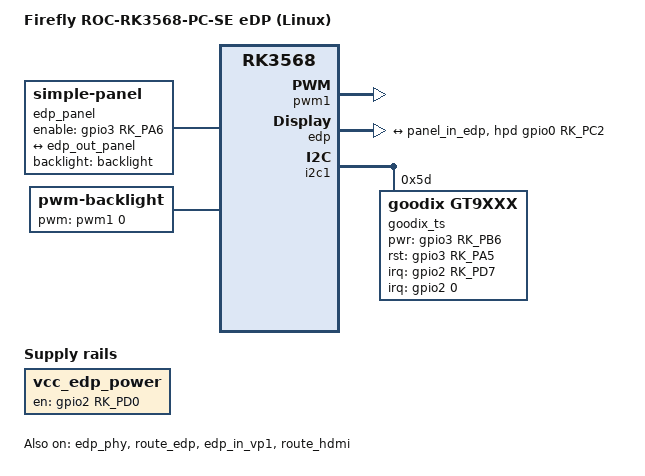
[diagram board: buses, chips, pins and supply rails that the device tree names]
// SPDX-License-Identifier: (GPL-2.0+ OR MIT)
/*
 * Copyright (c) 2020 Rockchip Electronics Co., Ltd.
 *
 */

/dts-v1/;

#include "rk3568-firefly-roc-pc-se.dtsi"
#include <dt-bindings/display/rockchip_vop.h>

/*
 * Select one of the two
 * using single camera xc7160 ----> rk3568-firefly-roc-pc-se-cam-8ms1m.dtsi
 * using dual camera gc2053/gc2093 ----> rk3568-firefly-roc-pc-se-cam-2ms2m.dtsi
 */
#include "rk3568-firefly-roc-pc-se-cam-8ms1m.dtsi"

/ {
    model = "Firefly ROC-RK3568-PC-SE eDP (Linux)";
    compatible = "rockchip,rk3568-firefly-roc-pc-se", "rockchip,rk3568";

    vcc_edp_power: vcc-edp-power-regulator {
        compatible = "regulator-fixed";
        enable-active-high;
        gpio = <&gpio2 RK_PD0 GPIO_ACTIVE_HIGH>;
        pinctrl-names = "default";
        pinctrl-0 = <&vcc_edp_power_en>;
        regulator-name = "vcc_edp_power_en";
        regulator-always-on;
    };

    edp_panel: edp-panel {
        compatible = "simple-panel";
        status = "okay";
        enable-gpios = <&gpio3 RK_PA6 GPIO_ACTIVE_HIGH>;
        //bus-format = <MEDIA_BUS_FMT_RBG888_1X24>;
        prepare-delay-ms = <200>;
        backlight = <&backlight>;

        display-timings {
            native-mode = <&timing0>;
            timing0: timing0 {
                clock-frequency = <140000000>;
                hactive = <1920>;
                vactive = <1080>;
                hfront-porch = <40>;
                hsync-len = <40>;
                hback-porch = <80>;
                vfront-porch = <16>;
                vsync-len = <8>;
                vback-porch = <16>;
                hsync-active = <0>;
                vsync-active = <0>;
                de-active = <0>;
                pixelclk-active = <0>;
            };
        };

        ports {
            panel_in_edp: endpoint {
                remote-endpoint = <&edp_out_panel>;
            };
        };
    };

    backlight: backlight {
        status = "okay";
        compatible = "pwm-backlight";
        pwms = <&pwm1 0 500000 0>;
        brightness-levels = <
              0   1   2   3   4   5   6   7
              8   9  10  11  12  13  14  15
             16  17  18  19  20  21  22  23
             24  25  26  27  28  29  30  31
             32  33  34  35  36  37  38  39
             40  41  42  43  44  45  46  47
             48  49  50  51  52  53  54  55
             56  57  58  59  60  61  62  63
             64  65  66  67  68  69  70  71
             72  73  74  75  76  77  78  79
             80  81  82  83  84  85  86  87
             88  89  90  91  92  93  94  95
             96  97  98  99 100 101 102 103
            104 105 106 107 108 109 110 111
            112 113 114 115 116 117 118 119
            120 121 122 123 124 125 126 127
            128 129 130 131 132 133 134 135
            136 137 138 139 140 141 142 143
            144 145 146 147 148 149 150 151
            152 153 154 155 156 157 158 159
            160 161 162 163 164 165 166 167
            168 169 170 171 172 173 174 175
            176 177 178 179 180 181 182 183
            184 185 186 187 188 189 190 191
            192 193 194 195 196 197 198 199
            200 201 202 203 204 205 206 207
            208 209 210 211 212 213 214 215
            216 217 218 219 220 221 222 223
            224 225 226 227 228 229 230 231
            232 233 234 235 236 237 238 239
            240 241 242 243 244 245 246 247
            248 249 250 251 252 253 254 255>;
        default-brightness-level = <200>;
    };
};

&vp0 {
	rockchip,plane-mask = <(1 << ROCKCHIP_VOP2_CLUSTER0 | 1 << ROCKCHIP_VOP2_ESMART0 | 1 << ROCKCHIP_VOP2_SMART0)>;
	rockchip,primary-plane = <ROCKCHIP_VOP2_SMART0>;
};

&vp1 {
	rockchip,plane-mask = <(1 << ROCKCHIP_VOP2_CLUSTER1 | 1 << ROCKCHIP_VOP2_ESMART1 | 1 << ROCKCHIP_VOP2_SMART1)>;
	rockchip,primary-plane = <ROCKCHIP_VOP2_SMART1>;
};

&pwm1 {
    status = "okay";
};

&edp {
    status = "okay";
    hpd-gpios = <&gpio0 RK_PC2 GPIO_ACTIVE_HIGH>;

    ports {
        edp_out: port@1 {
            reg = <1>;
            #address-cells = <1>;
            #size-cells = <0>;

            edp_out_panel: endpoint@0 {
                reg = <0>;
                remote-endpoint = <&panel_in_edp>;
            };
        };
    };
};

&edp_phy {
    status = "okay";
};

&route_edp {
    status = "okay";
    connect = <&vp1_out_edp>;
};

&edp_in_vp0 {
    status = "disabled";
};

&edp_in_vp1 {
    status = "okay";
};

&route_hdmi {
    status = "okay";
    connect = <&vp0_out_hdmi>;
};

&i2c1{
    status = "okay";

    goodix_ts@5d {
        status = "okay";
        compatible = "goodix,gt9xxx";
        reg = <0x5d>;
        interrupt-parent = <&gpio2>;
        interrupts = <0 17 0x2008 0>;
        goodix,pwr-gpio = <&gpio3 RK_PB6 GPIO_ACTIVE_HIGH>;
        goodix,rst-gpio = <&gpio3 RK_PA5 GPIO_ACTIVE_HIGH>;
        goodix,irq-gpio = <&gpio2 RK_PD7 IRQ_TYPE_LEVEL_LOW>;
        flip-x = <0>;
        flip-y = <0>;

        goodix,cfg-group2 = [
            45 00 40 80 25 0a 0d 00 12 0f
            28 0f 50 32 03 05 02 02 02 00
            00 00 00 18 1a 1e 14 95 34 bc
            6b 69 31 0d 00 00 00 ba 02 2d
            00 00 00 00 00 00 00 00 00 47
            00 41 78 94 d5 82 07 19 00 04
            82 45 00 7f 4e 00 7d 58 00 7e
            64 00 82 71 00 82 00 00 00 00
            00 00 00 00 00 00 00 00 00 00
            00 00 00 00 00 00 00 00 00 00
            00 00 00 00 00 00 00 00 00 00
            00 00 16 15 14 13 12 11 10 0f
            0e 0d 0c 0b 0a 09 08 07 06 05
            04 03 02 01 00 ff ff ff ff ff
            ff ff 00 01 02 03 04 05 06 07
            08 09 0a 0b 0c 0d 0e 0f 10 11
            12 13 14 15 16 17 18 19 1b 1c
            1d 1e 1f 20 21 22 23 24 25 26
            27 28 29 ff ec 01
        ];
    };
};

&pinctrl {
    edp {
        vcc_edp_power_en: vcc-edp-power-en {
            rockchip,pins = <2 RK_PD0 RK_FUNC_GPIO &pcfg_pull_none>;
        };
    };
};
